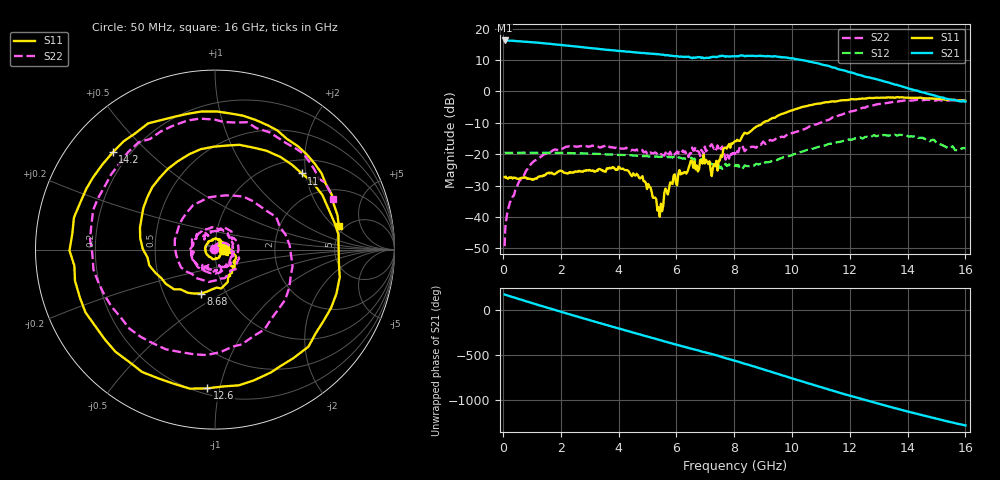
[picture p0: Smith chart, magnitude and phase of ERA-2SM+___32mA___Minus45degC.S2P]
! Mini-Circuits
! S2P DATA File Format
! Type: MMIC Amplifier
! Model: ERA-2SM  Reference Data:RDF-874AA
! Note: All S Parameters are in dB deg format
! TEST CONDITIONS: INPUT POWER = -20dBm, Icc = 32mA, Vd = 3.53V @Temperature = -45degC
! 401 Frequency points
# MHz S DB R 50
!  FREQ  dB(S11)  PHS(S11)  dB(S21)  PHS(S21)  dB(S12)  PHS(S12)  dB(S22)  PHS(S22)
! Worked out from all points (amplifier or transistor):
!   401 points, 50 MHz to 16 GHz, reference 50 ohm
!   highest |S21| = 16.2 dB at 50 MHz (marker M1)
!   |S21| within 3 dB of that: start of sweep to 3.613 GHz
!   unconditionally stable (mu >= 1): start of sweep to 10.33 GHz; 15.72 GHz to 15.84 GHz; 15.98595 GHz to end of sweep
!   at 1.37 GHz: K = 1.11, MAG = 15.5 dB, |S12| = -19.5 dB
!   at 4.1 GHz: K = 1.36, MAG = 12.9 dB, |S12| = -20.2 dB
!   at 16 GHz: K = 1.02, MAG = 6.5 dB, |S12| = -18.2 dB
!   S11 on the Smith chart (normalised r, x): 50 MHz: 1.09, -0.00; 8.68 GHz: 0.76, -0.40; 11 GHz: 1.31, +1.90; 12.6 GHz: 0.24, -0.92; 14.2 GHz: 0.14, +0.39; 16 GHz: 4.43, +2.35
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50  -27.31 -1.3  16.20 174.5  -19.57 -4.1  -49.30 167.5
830  -27.85 -30.7  15.79 96.3  -19.55 -59.6  -24.85 41.1
1610  -25.87 -70.9  15.12 20.4  -19.56 -116.1  -19.52 -28.9
2090  -25.77 -109.6  14.69 -25.4  -19.61 -151.2  -18.04 -72.6
2710  -25.47 -175.3  14.09 -83.7  -19.73 163.3  -17.42 -128.6
3310  -24.75 129.1  13.52 -139.2  -19.92 119.3  -17.75 179.5
3830  -24.25 79.8  13.04 173.3  -20.14 81.3  -17.92 132.9
4620  -26.27 28.4  12.32 101.5  -20.53 22.8  -18.47 68.9
5380  -36.93 4.3  11.80 33.2  -20.88 -31.9  -19.91 7.3
5980  -29.06 41.3  11.21 -20.1  -21.18 -77.6  -19.66 -37.9
6740  -25.53 10.6  10.91 -85.2  -22.22 -134.6  -19.04 -111.3
7540  -20.34 -12.5  11.20 -156.0  -24.00 170.2  -18.43 149.8
8060  -15.89 -60.2  11.10 155.8  -23.43 137.1  -20.54 90.9
8680  -11.78 -108.2  11.28 96.1  -23.66 102.8  -17.66 -0.3
9640  -7.22 163.7  10.86 0.4  -21.23 42.1  -14.42 -123.6
10200  -5.45 112.9  10.18 -56.1  -19.59 -0.8  -12.73 165.6
10760  -4.14 62.5  9.14 -111.3  -18.18 -45.9  -10.66 96.9
11000  -3.83 41.3  8.64 -135.3  -17.45 -66.2  -9.96 71.3
12600  -2.22 -93.3  4.55 77.5  -14.45 154.0  -4.85 -87.0
13400  -1.95 -160.4  2.62 6.8  -14.02 79.8  -3.53 -157.6
14200  -2.09 136.4  0.46 -59.9  -14.40 7.7  -2.89 138.2
16000  -3.06 11.0  -3.27 161.0  -18.18 -116.6  -2.95 23.1
